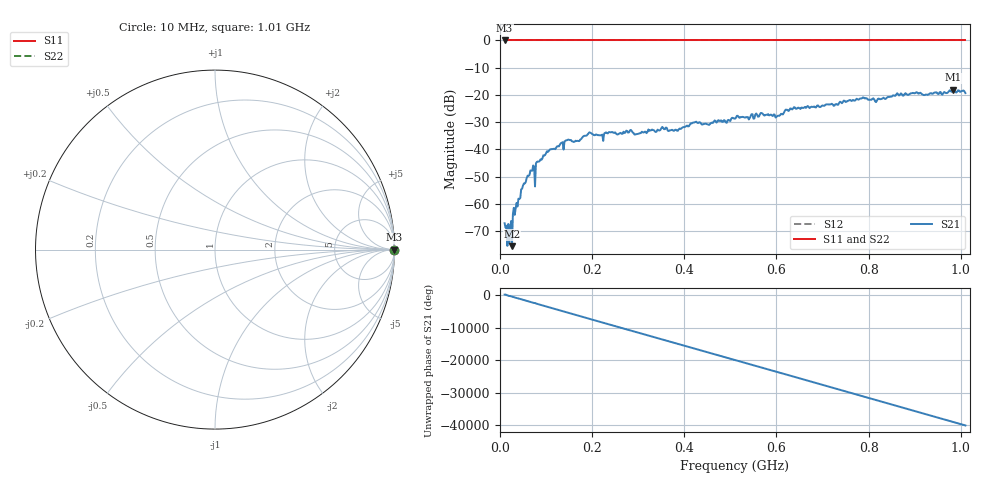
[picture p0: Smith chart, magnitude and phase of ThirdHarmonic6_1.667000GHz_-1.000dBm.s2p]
! 8/16/2025 7:59:14 PM
! C:\ANRITSUVNA\TEMP\TEMP.S2P
! CHANNEL.1
! TR.MEASUREMENT
! RAW.DATA
! RF.CORRECTION.OFF
! AVERAGING.OFF
! IF.BANDWIDTH: 5KHZ
! SWEEPTYPE:  FREQ.SWEEP(Linear)
! Reference Plane Port Info
! PORT:  PORT1  PORT2
! DISTANCE:  0  m  0  m
! TIME:  0  s  0  s
! PHASE.OFFSET:  0  deg.  0  deg.
! LOSS:  0  dB  0  dB
! REF.LOSS:  0  dB  0  dB
! REF.FREQ:  0  Hz  0  Hz
! Power Info
! POWER:  -20  dBm  -20  dBm
! EFF.POWER:  -20  dBm  -20  dBm
! SOURCE.ATTEN:  0  dB  0  dB
! TEST.ATTEN:  0  dB  0  dB
# GHZ S RI R 50.0
! FREQ.GHZ  S11RE  S11IM  S21RE  S21IM  S12RE  S12IM  S22RE  S22IM
!; PortSelection: Port_12
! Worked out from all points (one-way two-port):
!   501 points, 10 MHz to 1.01 GHz, reference 50 ohm
!   highest |S21| = -18.08 dB at 984 MHz (marker M1); lowest = -75.5 dB at 26 MHz (marker M2)
!   lowest |S11| = 0.0 dB at 10 MHz (marker M3)
!   |S11| at or under -10 dB: nowhere
!   |S22| runs from 0.0 to 0.0 dB; largest |S21 - S12| = 1.1
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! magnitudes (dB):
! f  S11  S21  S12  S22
! 10 MHz  0.0  -67.1  0.0  0.0
! 18 MHz  0.0  -67.3  0.0  0.0
! 24 MHz  0.0  -66.3  0.0  0.0
! 26 MHz  0.0  -75.5  0.0  0.0
! 30 MHz  0.0  -61.4  0.0  0.0
! 32 MHz  0.0  -64.0  0.0  0.0
! 50 MHz  0.0  -53.2  0.0  0.0
! 70 MHz  0.0  -47.8  0.0  0.0
! 72 MHz  0.0  -45.9  0.0  0.0
! 80 MHz  0.0  -44.5  0.0  0.0
! 82 MHz  0.0  -44.4  0.0  0.0
! 144 MHz  0.0  -36.6  0.0  0.0
! 178 MHz  0.0  -35.8  0.0  0.0
! 196 MHz  0.0  -33.9  0.0  0.0
! 344 MHz  0.0  -32.9  0.0  0.0
! 510 MHz  0.0  -28.7  0.0  0.0
! 602 MHz  0.0  -27.7  0.0  0.0
! 634 MHz  0.0  -25.3  0.0  0.0
! 678 MHz  0.0  -24.4  0.0  0.0
! 844 MHz  0.0  -20.7  0.0  0.0
! 984 MHz  0.0  -18.1  0.0  0.0
! 1.01 GHz  0.0  -19.3  0.0  0.0
